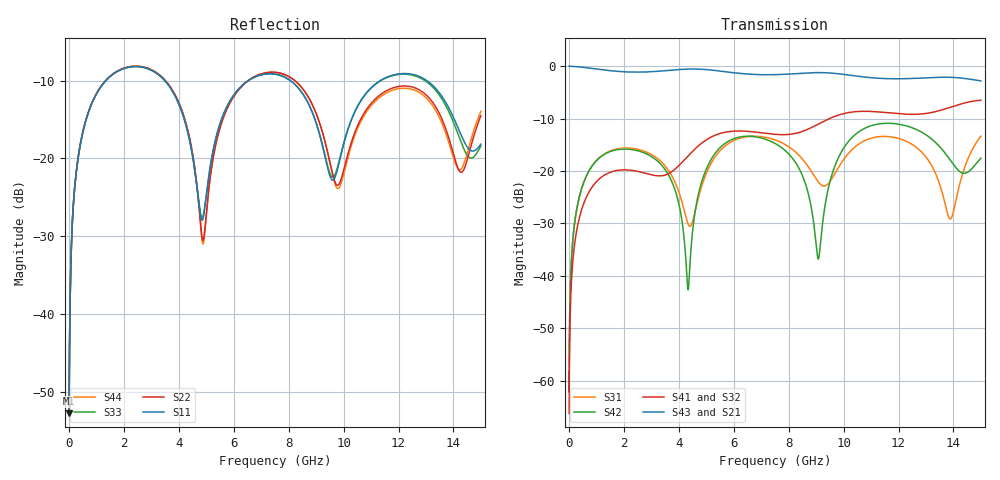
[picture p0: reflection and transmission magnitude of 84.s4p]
! Created with skrf 1.8.0 (http://scikit-rf.org).
# GHz S RI R 50.0
!freq ReS11 ImS11 ReS12 ImS12 ReS13 ImS13
! ReS14 ImS14
! ReS21 ImS21 ReS22 ImS22 ReS23 ImS23
! ReS24 ImS24
! ReS31 ImS31 ReS32 ImS32 ReS33 ImS33
! ReS34 ImS34
! ReS41 ImS41 ReS42 ImS42 ReS43 ImS43
! ReS44 ImS44
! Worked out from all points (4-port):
!   2499 points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, 5 MHz to 15 GHz, reference 50 ohm
!   strongest paths, dB at 5 MHz, 3.476 GHz, 7.19 GHz, 11.1 GHz, 15 GHz:
!     S43: 0.0, -0.9, -1.7, -2.3, -2.8
!     S21: 0.0, -0.9, -1.7, -2.3, -2.8
!     S41: -66.2, -20.8, -12.8, -8.7, -6.5
!     S32: -66.2, -20.8, -12.9, -8.7, -6.5
!     S42: -62.2, -19.6, -14.0, -11.2, -17.6
!     S31: -62.2, -18.9, -13.6, -13.6, -13.4
!   lowest |S11| = -52.7 dB at 5 MHz (marker M1), VSWR 1.00, Z = 50.2 + j0.14 ohm
!   |S11| at or under -10 dB: 3.486 GHz to 6.534 GHz (3.048 GHz wide, 60.8 % of centre); 8.061 GHz to 11.34 GHz (3.281 GHz wide, 33.8 % of centre); 13.03 GHz to end of sweep (the widest 3 of 4)
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0.005  0.00184 0.00139  0.9981 -0.00359  9.48e-05 0.000775  -9.17e-05 -0.000479
       0.9981 -0.00359  0.00184 0.00139  -9.17e-05 -0.000479  9.47e-05 0.000775
       9.48e-05 0.000775  -9.17e-05 -0.000479  0.00184 0.00139  0.9981 -0.00358
       -9.17e-05 -0.000479  9.47e-05 0.000775  0.9981 -0.00358  0.00184 0.00139
0.3626511  0.0368 0.1029  0.9488 -0.2548  0.0191 0.0512  -0.0154 -0.0308
           0.9488 -0.2548  0.037 0.1028  -0.0154 -0.0308  0.0183 0.0514
           0.0191 0.0512  -0.0154 -0.0308  0.0368 0.1029  0.9488 -0.2548
           -0.0154 -0.0308  0.0183 0.0514  0.9488 -0.2548  0.037 0.1029
1.77574  0.3402 0.1272  0.3574 -0.8161  0.1606 0.0265  -0.0977 0.0269
         0.3574 -0.8161  0.3429 0.1242  -0.0977 0.0269  0.1546 0.0404
         0.1606 0.0265  -0.0977 0.0269  0.3402 0.1272  0.3574 -0.816
         -0.0977 0.0269  0.1546 0.0404  0.3574 -0.816  0.3429 0.1242
4.339308  0.0792 -0.12  -0.8507 -0.3909  -0.0267 -0.0159  -0.054 0.1286
          -0.8507 -0.3909  0.0716 -0.1299  -0.054 0.1286  0.00698 0.00226
          -0.0267 -0.0159  -0.054 0.1286  0.0802 -0.1197  -0.8506 -0.391
          -0.054 0.1286  0.00698 0.00226  -0.8506 -0.391  0.0706 -0.1304
7.371822  0.3492 -0.0103  -0.0924 0.822  0.1841 -0.085  0.2187 -0.0533
          -0.0924 0.822  0.3579 -0.0116  0.2183 -0.0527  0.1841 -0.0488
          0.1841 -0.085  0.2183 -0.0527  0.3493 -0.0121  -0.0927 0.8221
          0.2187 -0.0533  0.1841 -0.0488  -0.0927 0.8221  0.3571 -0.00971
10.04168  0.1033 0.0801  0.8304 -0.0282  -0.00446 0.1327  -0.0337 -0.3526
          0.8304 -0.0282  0.0818 0.0359  -0.0334 -0.352  0.1026 0.1369
          -0.00446 0.1327  -0.0334 -0.352  0.1072 0.0772  0.8307 -0.0271
          -0.0337 -0.3526  0.1026 0.1369  0.8307 -0.0271  0.077 0.034
15  0.1234 0.00701  -0.7226 -0.0236  0.1604 0.1421  0.0223 0.4722
    -0.7226 -0.0236  0.143 0.1221  0.0203 0.4743  -0.0166 0.1313
    0.1604 0.1421  0.0203 0.4743  0.1188 0.0187  -0.7214 -0.0208
    0.0223 0.4722  -0.0166 0.1313  -0.7214 -0.0208  0.148 0.135
